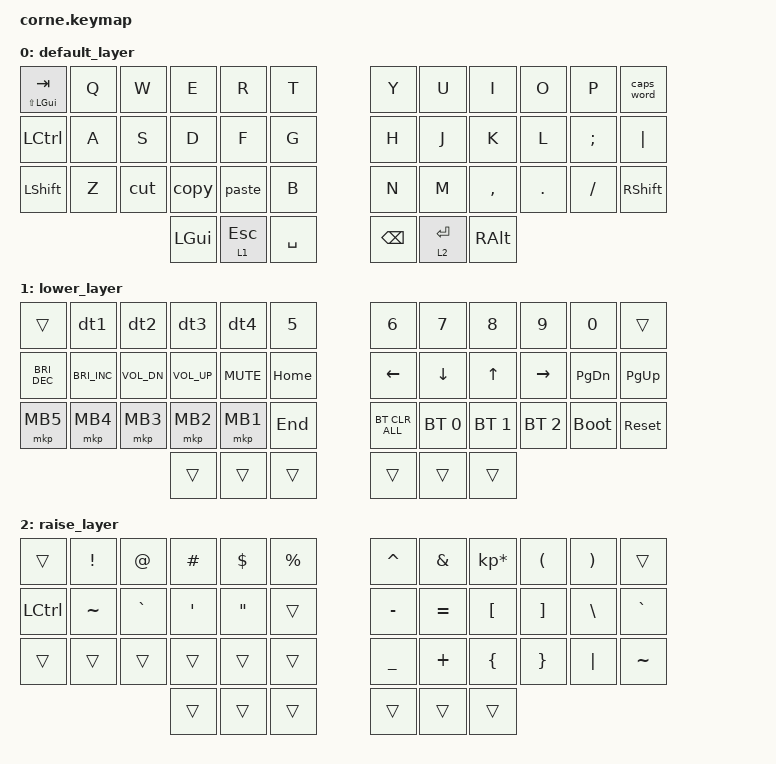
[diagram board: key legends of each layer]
/*
 * Copyright (c) 2020 The ZMK Contributors
 *
 * SPDX-License-Identifier: MIT
 */

#include <dt-bindings/zmk/mouse.h>
#include <behaviors.dtsi>
#include <dt-bindings/zmk/bt.h>
#include <dt-bindings/zmk/keys.h>

/ {
    behaviors {
        ht: hold_tap {
            compatible = "zmk,behavior-hold-tap";
            #binding-cells = <2>;
            flavor = "tap-preferred";
            tapping-term-ms = <250>;
            quick-tap-ms = <150>;
            require-prior-idle-ms = <100>;
            bindings = <&kp>, <&kp>;
        };

        bhm: balanced_homerow_mods {
            compatible = "zmk,behavior-hold-tap";
            #binding-cells = <2>;
            tapping-term-ms = <250>;
            quick-tap-ms = <0>;
            flavor = "balanced";
            bindings = <&kp>, <&kp>;
        };

        cut: tap_dance_0 {
            compatible = "zmk,behavior-tap-dance";
            #binding-cells = <0>;
            tapping-term-ms = <250>;
            bindings = <&kp X>, <&kp LG(X)>;
        };

        copy: tap_dance_1 {
            compatible = "zmk,behavior-tap-dance";
            #binding-cells = <0>;
            tapping-term-ms = <250>;
            bindings = <&kp C>, <&kp LG(C)>;
        };

        paste: tap_dance_2 {
            compatible = "zmk,behavior-tap-dance";
            #binding-cells = <0>;
            tapping-term-ms = <250>;
            bindings = <&kp V>, <&kp LG(V)>;
        };

        dt1: tap_dance_3 {
            compatible = "zmk,behavior-tap-dance";
            #binding-cells = <0>;
            tapping-term-ms = <250>;
            bindings = <&kp N1>, <&kp LC(N1)>;
        };

        dt2: tap_dance_4 {
            compatible = "zmk,behavior-tap-dance";
            #binding-cells = <0>;
            tapping-term-ms = <250>;
            bindings = <&kp N2>, <&kp LC(N2)>;
        };

        dt3: tap_dance_5 {
            compatible = "zmk,behavior-tap-dance";
            #binding-cells = <0>;
            tapping-term-ms = <250>;
            bindings = <&kp N3>, <&kp LC(N3)>;
        };

        dt4: tap_dance_6 {
            compatible = "zmk,behavior-tap-dance";
            #binding-cells = <0>;
            tapping-term-ms = <250>;
            bindings = <&kp N4>, <&kp LC(N4)>;
        };
    };

    keymap {
        compatible = "zmk,keymap";

        default_layer {
            // -----------------------------------------------------------------------------------------
            // |  TAB |  Q  |  W  |  E  |  R  |  T  |   |  Y  |  U   |  I  |  O  |  P  | BKSP |
            // | CTRL |  A  |  S  |  D  |  F  |  G  |   |  H  |  J   |  K  |  L  |  ;  |  '   |
            // | SHFT |  Z  |  X  |  C  |  V  |  B  |   |  N  |  M   |  ,  |  .  |  /  | ESC  |
            //                    | GUI | LWR | SPC |   | ENT | RSE  | ALT |

            bindings = <
&mt LS(LGUI) TAB  &kp Q  &kp W  &kp E     &kp R      &kp T        &kp Y     &kp U        &kp I      &kp O    &kp P     &caps_word
&kp LCTRL         &kp A  &kp S  &kp D     &kp F      &kp G        &kp H     &kp J        &kp K      &kp L    &kp SEMI  &kp PIPE
&kp LSHFT         &kp Z  &cut   &copy     &paste     &kp B        &kp N     &kp M        &kp COMMA  &kp DOT  &kp FSLH  &kp RSHIFT
                                &kp LGUI  &lt 1 ESC  &kp SPACE    &kp BSPC  &lt 2 ENTER  &kp RALT
            >;
        };

        lower_layer {
            // -----------------------------------------------------------------------------------------
            // |  TAB |  1  |  2  |  3  |  4  |  5  |   |  6  |  7  |  8  |  9  |  0  | BKSP |
            // | BTCLR| BT1 | BT2 | BT3 | BT4 | BT5 |   | LFT | DWN |  UP | RGT |     |      |
            // | SHFT |     |     |     |     |     |   |     |     |     |     |     |      |
            //                    | GUI |     | SPC |   | ENT |     | ALT |

            bindings = <
&trans         &dt1           &dt2          &dt3          &dt4        &kp N5      &kp N6          &kp N7        &kp N8        &kp N9        &kp N0         &trans
&kp C_BRI_DEC  &kp C_BRI_INC  &kp C_VOL_DN  &kp C_VOL_UP  &kp C_MUTE  &kp HOME    &kp LEFT        &kp DOWN      &kp UP_ARROW  &kp RIGHT     &kp PAGE_DOWN  &kp PAGE_UP
&mkp MB5       &mkp MB4       &mkp MB3      &mkp MB2      &mkp MB1    &kp END     &bt BT_CLR_ALL  &bt BT_SEL 0  &bt BT_SEL 1  &bt BT_SEL 2  &bootloader    &sys_reset
                                            &trans        &trans      &trans      &trans          &trans &trans
            >;
        };

        raise_layer {
            // -----------------------------------------------------------------------------------------
            // |  TAB |  !  |  @  |  #  |  $  |  %  |   |  ^  |  &  |  *  |  (  |  )  | BKSP |
            // | CTRL |     |     |     |     |     |   |  -  |  =  |  [  |  ]  |  \  |  `   |
            // | SHFT |     |     |     |     |     |   |  _  |  +  |  {  |  }  | "|" |  ~   |
            //                    | GUI |     | SPC |   | ENT |     | ALT |

            bindings = <
&trans     &kp EXCL   &kp AT     &kp HASH  &kp DLLR  &kp PRCNT    &kp CARET  &kp AMPS   &kp KP_MULTIPLY  &kp LPAR  &kp RPAR  &trans
&kp LCTRL  &kp TILDE  &kp GRAVE  &kp SQT   &kp DQT   &trans       &kp MINUS  &kp EQUAL  &kp LBKT         &kp RBKT  &kp BSLH  &kp GRAVE
&trans     &trans     &trans     &trans    &trans    &trans       &kp UNDER  &kp PLUS   &kp LBRC         &kp RBRC  &kp PIPE  &kp TILDE
                                 &trans    &trans    &trans       &trans     &trans     &trans
            >;
        };
    };
};
